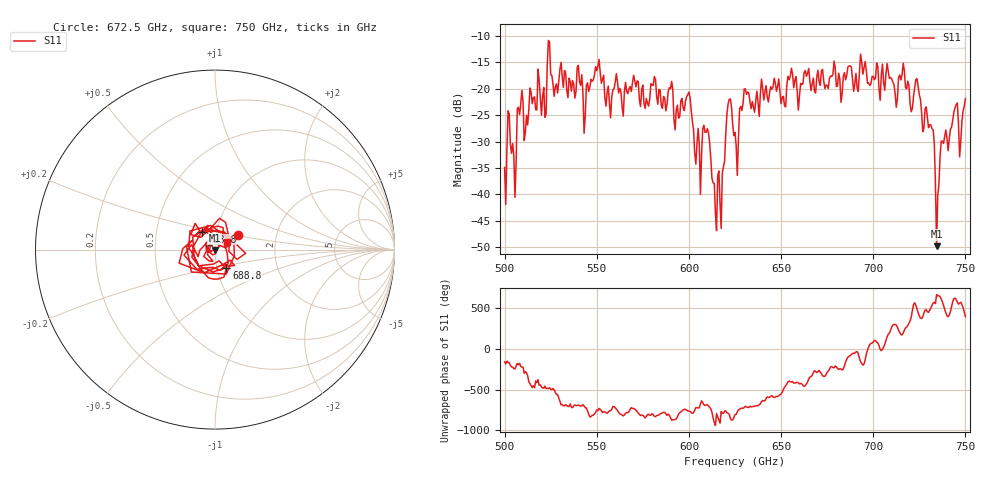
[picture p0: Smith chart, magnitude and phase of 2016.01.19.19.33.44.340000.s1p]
!Created with skrf (http://scikit-rf.org).
# GHz S RI R 50.0
!freq ReS11 ImS11
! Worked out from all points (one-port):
!   401 points, 500 GHz to 750 GHz, reference 50 ohm
!   lowest |S11| = -49.8 dB at 734.4 GHz (marker M1), VSWR 1.01, Z = 50.2 - j0.27 ohm
!   |S11| at or under -10 dB: start of sweep to end of sweep
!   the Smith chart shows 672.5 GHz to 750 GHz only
!   S11 on the Smith chart (normalised r, x): 672.5 GHz: 1.28, +0.21; 688.8 GHz: 1.11, -0.24; 723.8 GHz: 0.85, +0.17; 750 GHz: 1.14, +0.10
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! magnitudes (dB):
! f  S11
! 500 GHz  -34.9
! 503.1 GHz  -30.5
! 505 GHz  -32.7
! 508.1 GHz  -24.9
! 511.9 GHz  -25.0
! 521.2 GHz  -19.7
! 524.4 GHz  -11.2
! 531.2 GHz  -17.6
! 562.5 GHz  -19.9
! 590 GHz  -20.0
! 593.8 GHz  -23.1
! 600 GHz  -20.6
! 605 GHz  -27.5
! 609.4 GHz  -28.2
! 616.2 GHz  -35.6
! 621.9 GHz  -22.0
! 625 GHz  -28.3
! 631.2 GHz  -21.0
! 656.2 GHz  -17.3
! 672.5 GHz  -16.3
! 687.5 GHz  -15.6
! 688.8 GHz  -18.3
! 718.8 GHz  -18.5
! 723.8 GHz  -18.1
! 731.9 GHz  -27.5
! 734.4 GHz  -49.8
! 738.1 GHz  -30.3
! 750 GHz  -21.9
